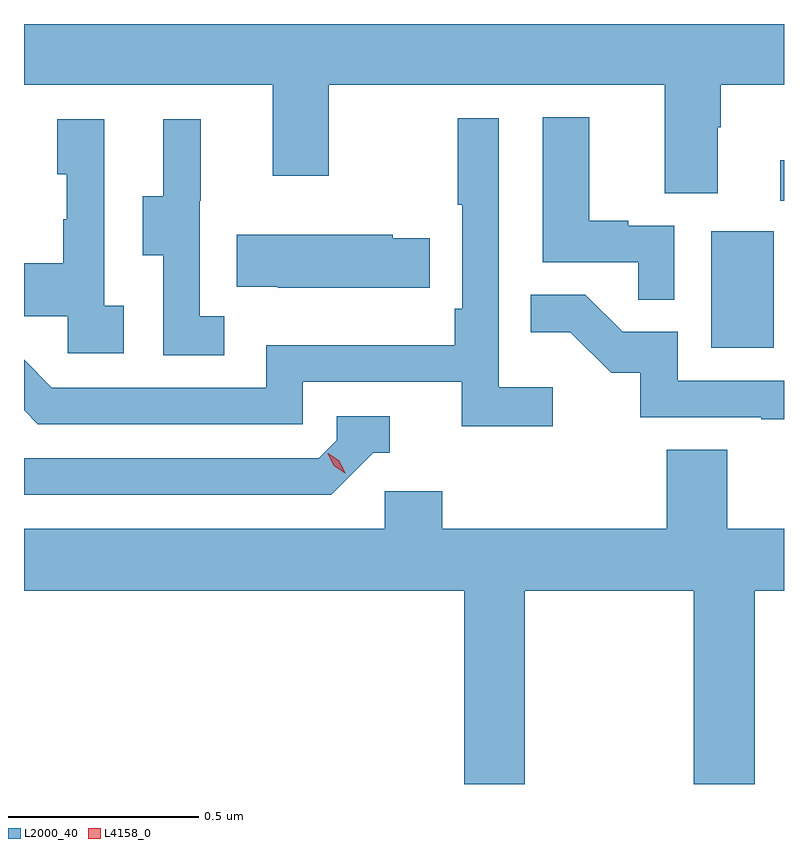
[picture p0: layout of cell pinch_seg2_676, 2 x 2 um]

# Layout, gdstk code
import gdstk
lib = gdstk.Library(unit=1e-6, precision=1e-09)
def R(c, l, rs):  # rectangles x0, y0, x1, y1
    for r in rs: c.add(gdstk.rectangle(r[:2], r[2:], *l))
def P(c, l, *ps):  # polygons
    for p in ps: c.add(gdstk.Polygon(p, *l))
L2000_40 = (2000, 40)
L4158_0 = (4158, 0)

pinch_seg2_676 = lib.new_cell('pinch_seg2_676')
R(pinch_seg2_676, L2000_40, [(1034.936,594.996,1035.1,595.303), (1035.117,595.383,1035.127,595.489)])
P(pinch_seg2_676, L2000_40, [(1034.953,595.576),(1034.961,595.576),(1034.961,595.688),(1035.127,595.688),(1035.127,595.848),(1033.127,595.848),(1033.127,595.688),(1033.781,595.688),(1033.781,595.449),(1033.929,595.449),(1033.929,595.688),(1034.813,595.688),(1034.813,595.402),(1034.953,595.402)],
  [(1034.838,595.317),(1034.717,595.317),(1034.717,595.33),(1034.614,595.33),(1034.614,595.603),(1034.492,595.603),(1034.492,595.221),(1034.743,595.221),(1034.743,595.123),(1034.838,595.123)],
  [(1034.518,594.892),(1034.376,594.892),(1034.376,595.6),(1034.268,595.6),(1034.268,595.372),(1034.28,595.372),(1034.28,595.099),(1034.26,595.099),(1034.26,595.003),(1033.764,595.003),(1033.764,594.891),(1033.2,594.891),(1033.127,594.964),(1033.127,594.831),(1033.163,594.795),(1033.86,594.795),(1033.86,594.906),(1034.279,594.906),(1034.279,594.79),(1034.518,594.79)],
  [(1033.39,595.106),(1033.338,595.106),(1033.338,595.597),(1033.214,595.597),(1033.214,595.452),(1033.24,595.452),(1033.24,595.334),(1033.23,595.334),(1033.23,595.219),(1033.127,595.219),(1033.127,595.079),(1033.242,595.079),(1033.242,594.981),(1033.39,594.981)],
  [(1033.654,595.079),(1033.59,595.079),(1033.59,595.383),(1033.592,595.383),(1033.592,595.597),(1033.493,595.597),(1033.493,595.395),(1033.439,595.395),(1033.439,595.24),(1033.494,595.24),(1033.494,594.976),(1033.654,594.976)],
  [(1034.195,595.284),(1034.097,595.284),(1034.097,595.294),(1033.687,595.294),(1033.687,595.157),(1033.795,595.157),(1033.795,595.154),(1034.195,595.154)],
  [(1035.127,594.909),(1034.847,594.909),(1034.847,595.038),(1034.702,595.038),(1034.604,595.136),(1034.461,595.136),(1034.461,595.037),(1034.565,595.037),(1034.672,594.93),(1034.749,594.93),(1034.749,594.813),(1035.067,594.813),(1035.067,594.808),(1035.127,594.808)],
  [(1034.046,594.72),(1034.089,594.72),(1034.089,594.816),(1033.95,594.816),(1033.95,594.753),(1033.902,594.705),(1033.127,594.705),(1033.127,594.609),(1033.935,594.609)],
  [(1034.445,594.356),(1034.89,594.356),(1034.89,593.848),(1035.05,593.848),(1035.05,594.356),(1035.127,594.356),(1035.127,594.52),(1034.978,594.52),(1034.978,594.728),(1034.819,594.728),(1034.819,594.52),(1034.228,594.52),(1034.228,594.618),(1034.076,594.618),(1034.076,594.52),(1033.127,594.52),(1033.127,594.356),(1034.285,594.356),(1034.285,593.848),(1034.445,593.848)])
P(pinch_seg2_676, L4158_0, [(1033.972,594.666),(1033.942,594.686),(1033.926,594.719),(1033.926,594.719),(1033.927,594.719),(1033.957,594.699),(1033.973,594.667),(1033.973,594.666)])

lib.write_gds('pinch_seg2_676.gds')
